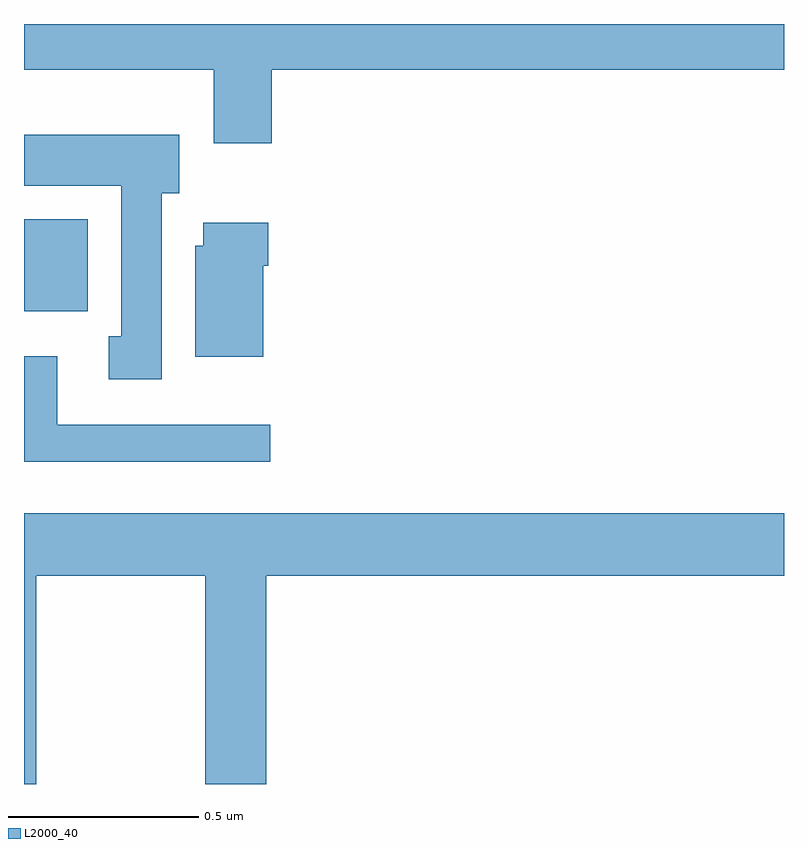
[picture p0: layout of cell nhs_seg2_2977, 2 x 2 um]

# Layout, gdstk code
import gdstk
lib = gdstk.Library(unit=1e-6, precision=1e-09)
def R(c, l, rs):  # rectangles x0, y0, x1, y1
    for r in rs: c.add(gdstk.rectangle(r[:2], r[2:], *l))
def P(c, l, *ps):  # polygons
    for p in ps: c.add(gdstk.Polygon(p, *l))
L2000_40 = (2000, 40)

nhs_seg2_2977 = lib.new_cell('nhs_seg2_2977')
R(nhs_seg2_2977, L2000_40, [(148,603.044,148.168,603.286)])
P(nhs_seg2_2977, L2000_40, [(148.652,603.68),(150,603.68),(150,603.8),(148,603.8),(148,603.68),(148.499,603.68),(148.499,603.486),(148.652,603.486)],
  [(148.363,603.354),(148.408,603.354),(148.408,603.508),(148,603.508),(148,603.374),(148.256,603.374),(148.256,602.978),(148.223,602.978),(148.223,602.865),(148.363,602.865)],
  [(148.63,603.164),(148.643,603.164),(148.643,603.277),(148.472,603.277),(148.472,603.216),(148.451,603.216),(148.451,602.924),(148.63,602.924)],
  [(148.648,602.745),(148.087,602.745),(148.087,602.926),(148,602.926),(148,602.648),(148.648,602.648)],
  [(148.032,602.348),(148.477,602.348),(148.477,601.8),(148.637,601.8),(148.637,602.348),(150,602.348),(150,602.512),(148,602.512),(148,601.8),(148.032,601.8)])

lib.write_gds('nhs_seg2_2977.gds')
